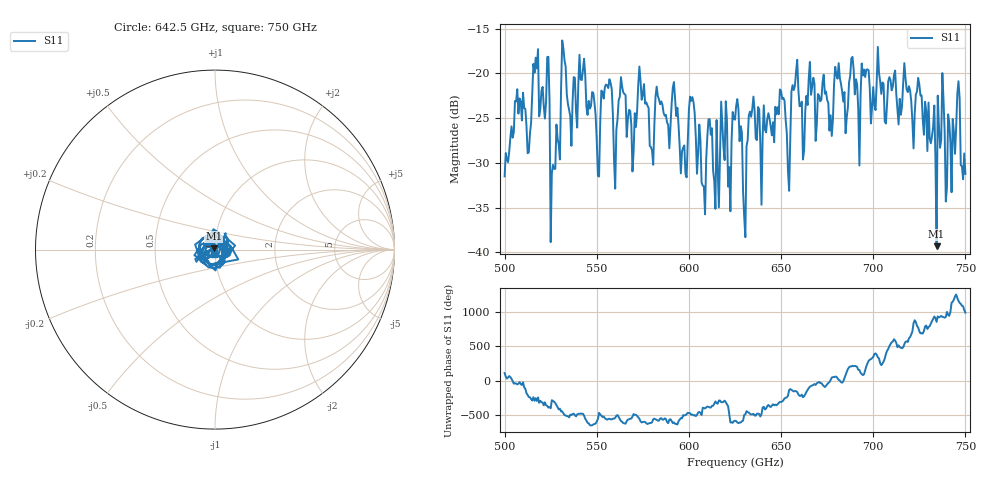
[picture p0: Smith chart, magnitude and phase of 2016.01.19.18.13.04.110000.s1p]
!Created with skrf (http://scikit-rf.org).
# GHz S RI R 50.0
!freq ReS11 ImS11
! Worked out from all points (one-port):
!   401 points, 500 GHz to 750 GHz, reference 50 ohm
!   lowest |S11| = -39.3 dB at 734.4 GHz (marker M1), VSWR 1.02, Z = 49.3 + j0.818 ohm
!   |S11| at or under -10 dB: start of sweep to end of sweep
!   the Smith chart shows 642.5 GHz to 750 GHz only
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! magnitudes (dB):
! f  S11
! 500 GHz  -31.5
! 506.9 GHz  -21.8
! 513.1 GHz  -28.8
! 516.9 GHz  -18.2
! 523.1 GHz  -18.2
! 526.2 GHz  -30.2
! 531.2 GHz  -16.3
! 541.9 GHz  -20.7
! 550.6 GHz  -31.4
! 553.8 GHz  -22.8
! 562.5 GHz  -22.6
! 593.8 GHz  -23.8
! 597.5 GHz  -28.0
! 601.9 GHz  -22.6
! 608.1 GHz  -32.6
! 611.2 GHz  -25.1
! 615 GHz  -25.2
! 625 GHz  -25.2
! 630.6 GHz  -38.3
! 633.8 GHz  -24.8
! 650.6 GHz  -22.8
! 653.8 GHz  -30.9
! 656.2 GHz  -21.3
! 687.5 GHz  -20.3
! 718.8 GHz  -22.1
! 734.4 GHz  -39.3
! 745.6 GHz  -22.2
! 750 GHz  -31.2
